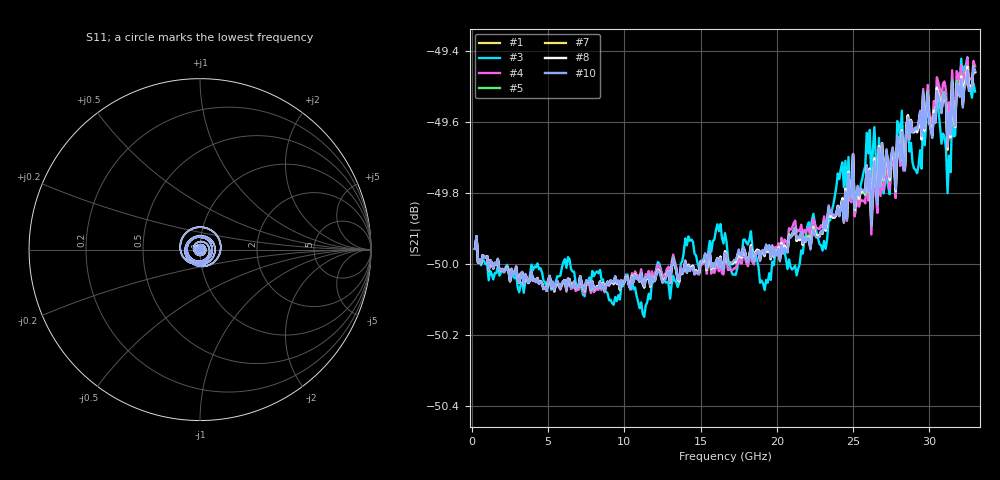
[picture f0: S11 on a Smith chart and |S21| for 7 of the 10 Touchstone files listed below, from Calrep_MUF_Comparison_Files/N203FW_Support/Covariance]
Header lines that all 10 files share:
# GHZ S RI R 50
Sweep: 200 MHz to 33 GHz
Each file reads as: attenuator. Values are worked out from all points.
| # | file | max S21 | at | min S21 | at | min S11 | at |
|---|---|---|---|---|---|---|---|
| 1 | N203FW_1.s2p | -49.45 dB | 32.5 GHz | -50.1 dB | 7.4 GHz | -47.5 dB | 2.4 GHz |
| 2 | N203FW_2.s2p | -49.45 dB | 32.5 GHz | -50.1 dB | 7.4 GHz | -47.5 dB | 2.4 GHz |
| 3 | N203FW_3.s2p | -49.42 dB | 32.5 GHz | -50.1 dB | 11.3 GHz | -48.1 dB | 2.3 GHz |
| 4 | N203FW_4.s2p | -49.42 dB | 32.5 GHz | -50.1 dB | 7.4 GHz | -47.6 dB | 2.3 GHz |
| 5 | N203FW_8.s2p | -49.44 dB | 32.5 GHz | -50.1 dB | 7.4 GHz | -47.6 dB | 2.3 GHz |
| 6 | N203FW_9.s2p | -49.44 dB | 32.5 GHz | -50.1 dB | 7.4 GHz | -47.6 dB | 2.3 GHz |
| 7 | N203FW_10.s2p | -49.45 dB | 32.5 GHz | -50.1 dB | 5.4 GHz | -47.3 dB | 2.4 GHz |
| 8 | N203FW_12.s2p | -49.45 dB | 32.5 GHz | -50.1 dB | 5.4 GHz | -47.6 dB | 2.3 GHz |
| 9 | N203FW_13.s2p | -49.45 dB | 32.5 GHz | -50.1 dB | 5.4 GHz | -47.6 dB | 2.3 GHz |
| 10 | N203FW_14.s2p | -49.45 dB | 32.9 GHz | -50.1 dB | 8.7 GHz | -47.6 dB | 2.3 GHz |
